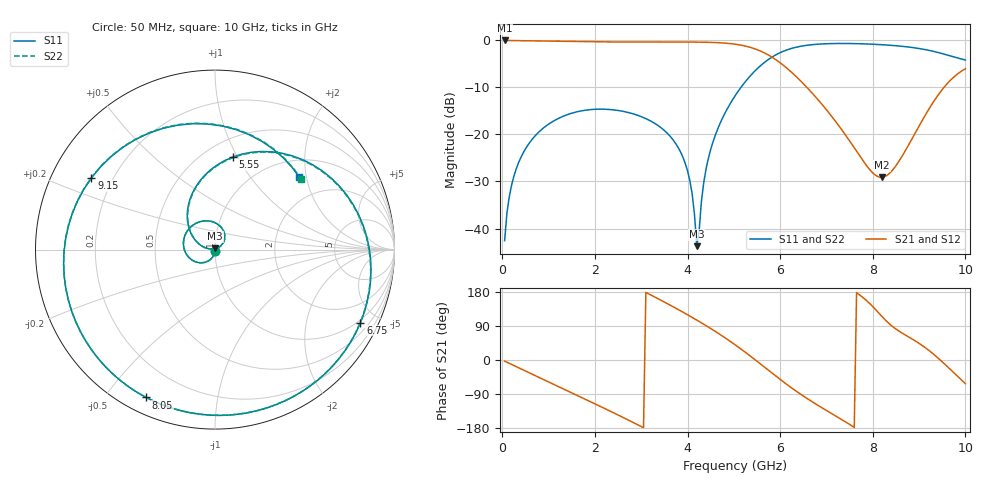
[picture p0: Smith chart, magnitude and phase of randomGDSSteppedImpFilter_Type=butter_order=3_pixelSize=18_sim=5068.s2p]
! freq	dB(S11)	phase(S11)	dB(S12)	phase(S12)
!  dB(S21)	phase(S21)	dB(S22)	phase(S22)
!S-par simulation data
#  GHz  S  DB  R 50
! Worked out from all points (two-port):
!   200 points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, 50 MHz to 10 GHz, reference 50 ohm
!   highest |S21| = -0.01 dB at 50 MHz (marker M1); lowest = -29.1 dB at 8.2 GHz (marker M2)
!   |S21| within 3 dB of the highest: start of sweep to 5.728 GHz
!   lowest |S11| = -43.8 dB at 4.2 GHz (marker M3), VSWR 1.01, Z = 50.1 + j0.632 ohm
!   |S11| at or under -10 dB: start of sweep to 5.152 GHz
!   |S22| runs from -44.5 to -0.6 dB; largest |S21 - S12| = 0
!   S11 on the Smith chart (normalised r, x): 50 MHz: 1.00, -0.01; 5.55 GHz: 0.67, +0.96; 6.75 GHz: 0.88, -4.04; 8.05 GHz: 0.07, -0.64; 9.15 GHz: 0.12, +0.27; 10 GHz: 1.39, +1.82
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0.05  -42.61 -90.1  -0.01 -3.0  -0.01 -3.0  -42.61 -90.1
0.2  -30.81 -101.0  -0.02 -11.7  -0.02 -11.7  -30.81 -101.0
0.5  -23.08 -119.2  -0.06 -29.0  -0.06 -29.0  -23.08 -119.3
1.75  -14.91 168.2  -0.27 -101.1  -0.27 -101.1  -14.91 168.0
2.65  -15.17 115.5  -0.33 -154.1  -0.33 -154.1  -15.17 115.1
3.4  -18.36 69.7  -0.33 159.4  -0.33 159.4  -18.36 69.0
4  -27.73 34.4  -0.34 119.4  -0.34 119.4  -27.76 33.1
4.2  -43.76 76.3  -0.36 105.3  -0.36 105.3  -44.47 74.1
4.45  -25.07 169.0  -0.40 86.9  -0.40 86.9  -25.07 169.1
5.05  -11.43 124.7  -0.83 38.2  -0.83 38.2  -11.43 124.2
5.55  -5.60 79.2  -2.15 -8.2  -2.15 -8.2  -5.60 78.6
6.05  -2.38 31.6  -5.13 -56.0  -5.13 -56.0  -2.38 31.0
6.7  -0.90 -22.9  -11.30 -110.9  -11.30 -110.9  -0.90 -23.5
6.75  -0.85 -26.6  -11.85 -114.7  -11.85 -114.7  -0.85 -27.3
7.4  -0.65 -71.7  -19.96 -162.3  -19.96 -162.3  -0.65 -72.4
8.05  -0.83 -115.0  -28.60 134.5  -28.60 134.5  -0.84 -115.8
8.2  -0.91 -125.5  -29.11 114.6  -29.11 114.6  -0.92 -126.4
8.35  -1.01 -136.6  -28.37 96.3  -28.37 96.3  -1.02 -137.5
8.8  -1.43 -174.2  -21.75 59.0  -21.75 59.0  -1.45 -175.3
9.15  -1.98 149.9  -15.61 31.0  -15.61 31.0  -1.99 148.6
9.55  -2.94 100.3  -9.83 -10.4  -9.83 -10.4  -2.94 98.9
10  -4.16 40.6  -6.02 -62.4  -6.02 -62.4  -4.15 39.4
